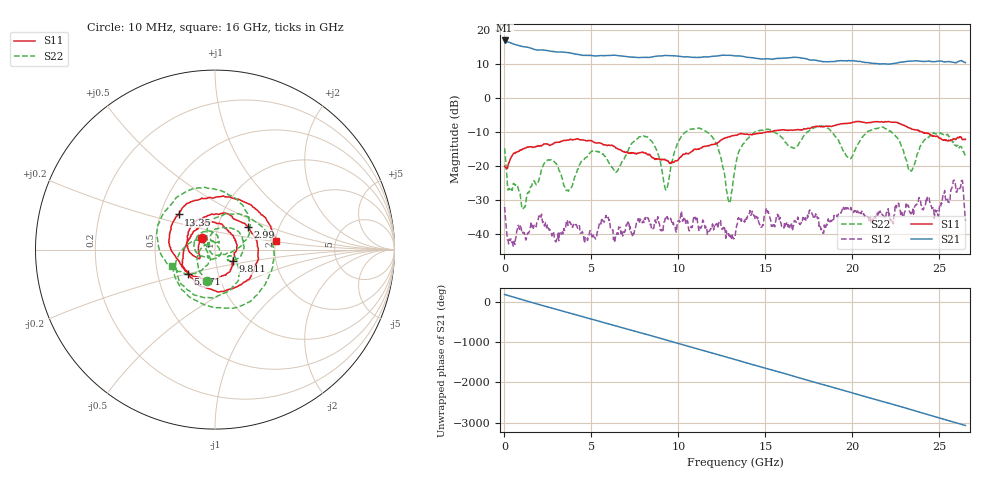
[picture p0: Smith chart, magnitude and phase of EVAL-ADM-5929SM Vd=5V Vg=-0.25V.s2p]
! MARKI MICROWAVE INC.
! Email:  support@markimicrowave.com  Phone:  408-778-4200
! Model Number:  EVAL-ADM-5929SM  Date:  10/17
! Filename:	 EVAL-ADM-5929SM Vd=5V Vg=-0.25V.S2P  Version: 1.0
! Description:  2-port S-parameter data for amplifier EVAL-ADM-5929SM + BTN1-0050 measured at Pin = -20 dBm input power
! Frequency Measured: 	10 MHz to 26.5 GHz
! Measurements:		S11, S21, S12, S22
# Hz S dB R 50
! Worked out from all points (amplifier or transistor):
!   801 points, 10 MHz to 26.5 GHz, reference 50 ohm
!   highest |S21| = 17.0 dB at 10 MHz (marker M1)
!   |S21| within 3 dB of that: start of sweep to 2.473 GHz
!   unconditionally stable (mu >= 1): start of sweep to end of sweep
!   at 4.414 GHz: K = 10.63, MAG = 13.0 dB, |S12| = -39.9 dB
!   at 13.26 GHz: K = 12.14, MAG = 12.9 dB, |S12| = -41.0 dB
!   at 26.5 GHz: K = 8.92, MAG = 10.9 dB, |S12| = -36.2 dB
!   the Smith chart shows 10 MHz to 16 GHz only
!   S11 on the Smith chart (normalised r, x): 10 MHz: 0.85, +0.11; 2.99 GHz: 1.39, +0.38; 5.871 GHz: 0.72, -0.20; 9.811 GHz: 1.21, -0.16; 13.35 GHz: 0.62, +0.26; 16 GHz: 2.00, +0.22
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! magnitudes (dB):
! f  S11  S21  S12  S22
! 10 MHz  -20.1  17.0  -32.1  -14.8
! 308 MHz  -18.3  16.4  -41.7  -26.9
! 1.103 GHz  -15.0  15.2  -39.8  -32.5
! 2.99 GHz  -13.0  13.7  -41.9  -19.5
! 3.652 GHz  -12.4  13.5  -37.6  -27.2
! 4.447 GHz  -12.3  12.7  -39.6  -18.7
! 5.871 GHz  -13.9  12.6  -35.4  -17.8
! 8.851 GHz  -18.0  12.5  -36.1  -16.8
! 9.315 GHz  -18.3  12.6  -35.9  -26.8
! 9.811 GHz  -18.5  12.5  -37.9  -15.2
! 11.8 GHz  -14.0  12.2  -39.2  -10.6
! 12.92 GHz  -11.4  12.6  -40.7  -30.8
! 13.26 GHz  -11.0  12.5  -41.0  -20.8
! 13.35 GHz  -11.0  12.5  -37.5  -18.0
! 16 GHz  -9.3  11.8  -37.8  -11.9
! 17.69 GHz  -8.6  11.2  -34.3  -9.2
! 19.84 GHz  -7.4  11.1  -32.8  -17.9
! 22.1 GHz  -6.9  10.0  -34.9  -9.7
! 23.35 GHz  -8.9  10.9  -34.1  -21.4
! 24.65 GHz  -11.1  10.8  -32.1  -10.5
! 25.8 GHz  -12.0  10.6  -24.3  -13.0
! 26.5 GHz  -12.2  10.5  -36.2  -16.9
